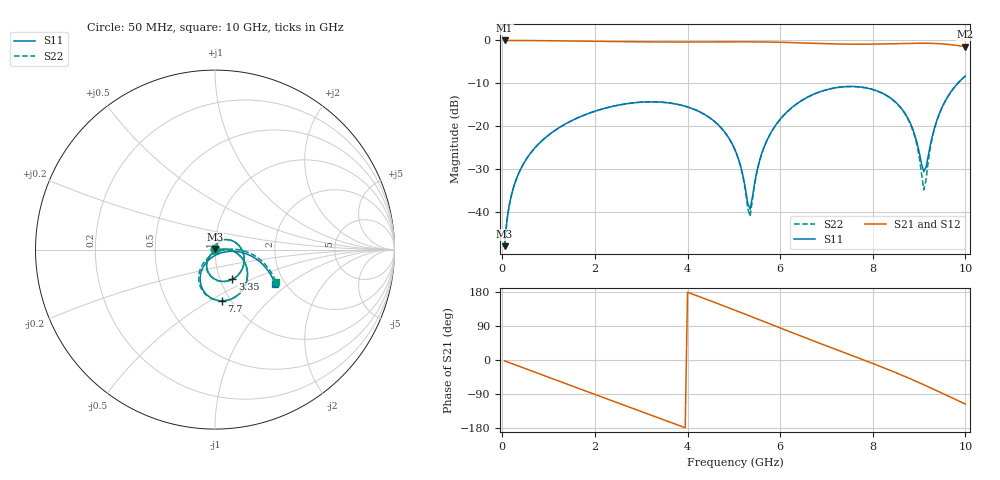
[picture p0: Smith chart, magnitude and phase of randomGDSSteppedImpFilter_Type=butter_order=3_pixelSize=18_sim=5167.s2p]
! freq	dB(S11)	phase(S11)	dB(S12)	phase(S12)
!  dB(S21)	phase(S21)	dB(S22)	phase(S22)
!S-par simulation data
#  GHz  S  DB  R 50
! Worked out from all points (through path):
!   200 points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, 50 MHz to 10 GHz, reference 50 ohm
!   highest |S21| = 0.00 dB at 50 MHz (marker M1); lowest = -1.5 dB at 10 GHz (marker M2)
!   group delay of S21, straight-line fit = 130 ps
!   lowest |S11| = -48.0 dB at 50 MHz (marker M3), VSWR 1.01, Z = 50 + j0.398 ohm
!   |S11| at or under -10 dB: start of sweep to 9.836 GHz
!   |S22| runs from -48.0 to -8.3 dB; largest |S21 - S12| = 0
!   S11 on the Smith chart (normalised r, x): 50 MHz: 1.00, +0.01; 3.35 GHz: 1.14, -0.39; 7.7 GHz: 0.91, -0.57; 10 GHz: 1.78, -0.79
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0.05  -48.00 86.6  -0.00 -2.3  -0.00 -2.3  -48.00 86.6
0.1  -41.98 84.9  -0.00 -4.6  -0.00 -4.6  -41.98 84.9
0.2  -35.96 80.7  -0.00 -9.1  -0.00 -9.1  -35.96 80.6
0.5  -28.02 67.3  -0.02 -22.8  -0.02 -22.8  -28.02 67.1
1.75  -17.50 11.2  -0.17 -79.6  -0.17 -79.6  -17.50 10.6
2.5  -15.10 -22.1  -0.27 -113.4  -0.27 -113.4  -15.11 -22.9
3.35  -14.35 -59.8  -0.35 -151.6  -0.35 -151.6  -14.35 -60.8
3.4  -14.37 -62.0  -0.35 -153.9  -0.35 -153.9  -14.38 -63.1
4.45  -17.81 -107.7  -0.35 158.3  -0.35 158.3  -17.83 -109.2
5.05  -26.16 -127.6  -0.32 130.2  -0.32 130.2  -26.24 -130.6
5.35  -39.38 -54.8  -0.33 115.9  -0.33 115.9  -41.03 -53.5
5.5  -30.43 -0.8  -0.34 108.7  -0.34 108.7  -30.60 2.0
5.75  -22.55 -0.1  -0.37 96.7  -0.37 96.7  -22.57 0.5
6.7  -12.67 -38.7  -0.66 51.3  -0.66 51.3  -12.67 -39.3
7.7  -10.82 -82.7  -0.88 4.9  -0.88 4.9  -10.84 -84.0
8.35  -13.19 -110.1  -0.78 -26.1  -0.78 -26.1  -13.23 -112.5
8.85  -20.30 -124.4  -0.65 -51.6  -0.65 -51.6  -20.56 -130.8
9  -25.93 -114.4  -0.64 -59.7  -0.64 -59.7  -26.99 -126.3
9.1  -30.60 -72.8  -0.64 -65.2  -0.64 -65.2  -34.87 -77.2
9.25  -23.97 -10.7  -0.67 -73.5  -0.67 -73.5  -24.58 -0.3
9.4  -18.13 -5.1  -0.73 -82.0  -0.73 -82.0  -18.27 0.5
10  -8.30 -29.7  -1.48 -116.3  -1.48 -116.3  -8.31 -28.0
